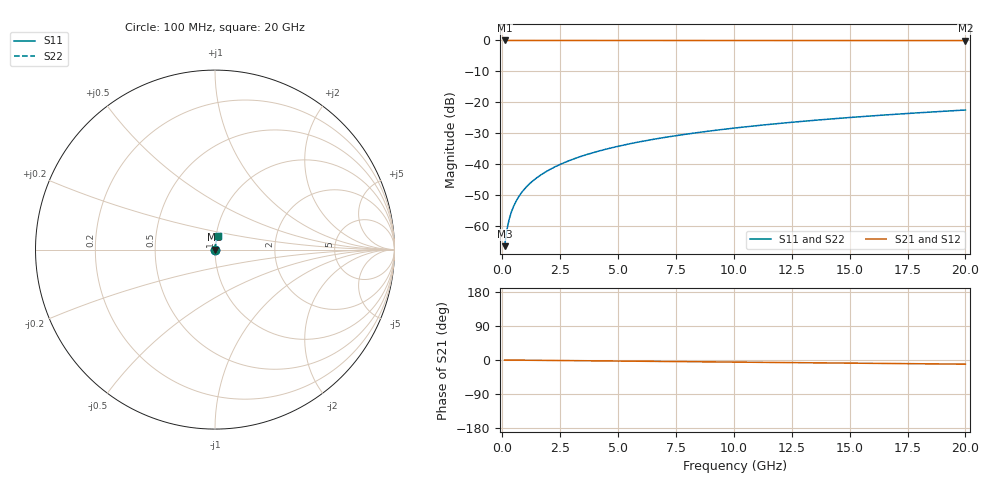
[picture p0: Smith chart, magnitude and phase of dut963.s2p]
! Touchstone file exported from HFSS 2026.1.0
!  File:  C:/ffzhzh/LocalFiles/Ansys_Project_Files/temp_train_TSV_963_1783187566_55132.aedt
!  Generated:  01:54:28 AM Jul  5, 2026
!  Design:  TSV
!  Project:  temp_train_TSV_963_1783187566_55132
! Variables:
!  h_bsmrdl = 2um
!  h_ox = 20um
!  h_rdl = 5um
!  h_sub = 98.36um
!  h_tmrdl = 5um
!  h_tsv = 98.36um
!  h_via = 3um
!  l_bsmrdl = 300um
!  l_sub = 416.86um
!  l_tmrdl = 200um
!  m_sub = 200um
!  pitch = 59.61um
!  r_tsv = 8.43um
!  s_tmrdl = 10um
!  w_bsmrdl = 18um
!  w_sub = 500um
!  w_tmrdl = 12um
!  x_tsv_center1 = 206um
!  x_tsv_center2 = 524um
!  x_tsv_center3 = 736um
!  x_tsv_center4 = 1054um
!  x_tsv_center5 = 1266um
!  x_tsv_center6 = 1584um
# GHz S MA R 50.000000
! Terminal data exported
! Port[1] = TSV1_1_T1
! Port[2] = TSV1_1_T2
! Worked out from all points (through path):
!   200 points, 100 MHz to 20 GHz, reference 50 ohm
!   highest |S21| = 0.00 dB at 100 MHz (marker M1); lowest = 0.0 dB at 20 GHz (marker M2)
!   group delay of S21, straight-line fit = 1.52 ps
!   lowest |S11| = -66.6 dB at 100 MHz (marker M3), VSWR 1.00, Z = 50 + j0.0424 ohm
!   |S11| at or under -10 dB: start of sweep to end of sweep
!   |S22| runs from -66.6 to -22.5 dB; largest |S21 - S12| = 2.4e-15
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0.1  0.0004655 65.7  0.9998 -0.1  0.9998 -0.1  0.0004655 65.7
! Gamma 0 0 0 0
! Port Impedance 50 0 50 0
0.2  0.0008706 76.5  0.9998 -0.1  0.9998 -0.1  0.0008706 76.5
0.3  0.001284 80.0  0.9998 -0.2  0.9998 -0.2  0.001284 80.0
0.4  0.001696 81.6  0.9998 -0.2  0.9998 -0.2  0.001696 81.6
0.5  0.002104 82.5  0.9997 -0.3  0.9997 -0.3  0.002104 82.5
0.6  0.002508 83.0  0.9997 -0.3  0.9997 -0.3  0.002508 83.0
0.7  0.002907 83.4  0.9997 -0.4  0.9997 -0.4  0.002907 83.4
0.8  0.003302 83.7  0.9997 -0.5  0.9997 -0.5  0.003302 83.7
1  0.004083 84.0  0.9996 -0.6  0.9996 -0.6  0.004083 84.0
1.4  0.005625 84.5  0.9995 -0.8  0.9995 -0.8  0.005625 84.5
1.7  0.006773 84.8  0.9995 -1.0  0.9995 -1.0  0.006773 84.8
2  0.007919 85.0  0.9994 -1.1  0.9994 -1.1  0.007919 85.0
2.7  0.01059 85.2  0.9993 -1.5  0.9993 -1.5  0.01059 85.2
3.5  0.01363 85.1  0.9992 -1.9  0.9992 -1.9  0.01363 85.1
4.2  0.01628 85.0  0.9991 -2.3  0.9991 -2.3  0.01628 85.0
5  0.01931 84.8  0.999 -2.8  0.999 -2.8  0.01931 84.8
6.8  0.02607 84.1  0.9987 -3.8  0.9987 -3.8  0.02607 84.1
8.3  0.03168 83.5  0.9984 -4.6  0.9984 -4.6  0.03168 83.5
10.1  0.03839 82.7  0.9981 -5.6  0.9981 -5.6  0.03839 82.7
13.4  0.0506 81.1  0.9974 -7.4  0.9974 -7.4  0.0506 81.1
16.7  0.06271 79.4  0.9965 -9.2  0.9965 -9.2  0.06271 79.4
20  0.07469 77.7  0.9955 -11.0  0.9955 -11.0  0.07469 77.7
